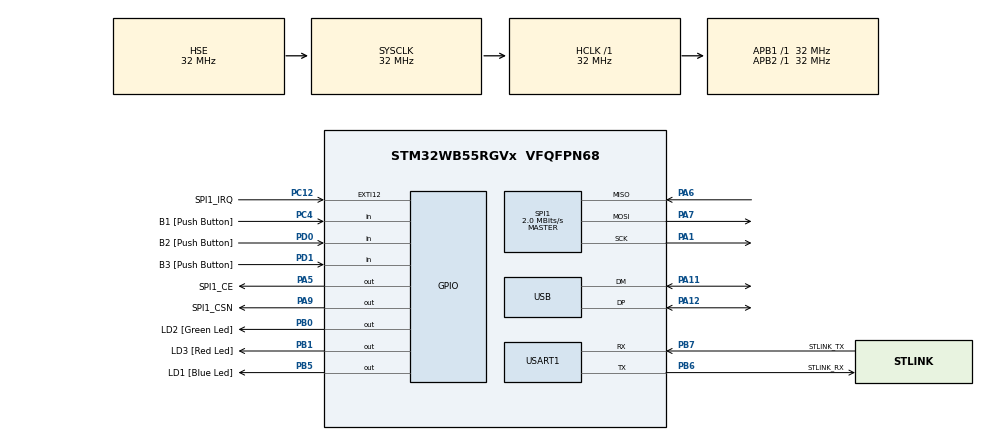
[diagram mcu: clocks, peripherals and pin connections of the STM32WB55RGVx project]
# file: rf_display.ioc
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Mcu.Family=STM32WB
PA6.Mode=Full_Duplex_Master
RCC.CortexFreq_Value=32000000
SPI1.VirtualType=VM_MASTER
RCC.SMPSCLockSelectionVirtualVirtual=RCC_SMPSCLKSOURCE_HSI
PC12.Signal=GPXTI12
USART1.WordLength=WORDLENGTH_7B
PA14.GPIO_Label=JTCK
PD0.GPIO_Label=B2 [Push Button]
PA11.Mode=Device
PB0.GPIO_Label=LD2 [Green Led]
PB6.GPIO_Label=STLINK_RX
RCC.SYSCLKSource=RCC_SYSCLKSOURCE_HSE
ProjectManager.StackSize=0x400
VP_FREERTOS_VS_CMSIS_V2.Mode=CMSIS_V2
PA12.Signal=USB_DP
SPI1.Direction=SPI_DIRECTION_2LINES
RCC.HCLKFreq_Value=32000000
RCC.APB2TimFreq_Value=32000000
PB6.Signal=USART1_TX
PB6.Mode=Asynchronous
SPI1.CalculateBaudRate=2.0 MBits/s
PD0.Signal=GPIO_Input
OSC_OUT.Mode=HSE-External-Oscillator
OSC_OUT.Signal=RCC_OSC_OUT
RCC.AHBFreq_Value=32000000
RCC.HSE_VALUE=32000000
PB3.Mode=Trace_Asynchronous_SW
PD1.GPIO_Label=B3 [Push Button]
PC14-OSC32_IN.Mode=LSE-External-Oscillator
PC4.GPIO_Label=B1 [Push Button]
PA14.Mode=Trace_Asynchronous_SW
PB1.GPIO_Label=LD3 [Red Led]
NVIC.TIM2_IRQn=true\:0\:0\:false\:false\:true\:false\:false\:true
SPI1.DataSize=SPI_DATASIZE_8BIT
PB7.Signal=USART1_RX
RCC.APB3Freq_Value=16000000
PB7.GPIO_Label=STLINK_TX
Mcu.Package=VFQFPN68
VP_SYS_VS_tim2.Mode=TIM2
PB1.Signal=GPIO_Output
PA6.Signal=SPI1_MISO
NVIC.TimeBase=TIM2_IRQn
NVIC.TimeBaseIP=TIM2
PB5.GPIO_Label=LD1 [Blue Led]
RCC.APB1TimFreq_Value=32000000
SPI1.BaudRatePrescaler=SPI_BAUDRATEPRESCALER_16
RCC.SMPSDivider=1
RCC.HSI48_VALUE=48000000
RCC.PLLSAI1N=24
PB3.GPIO_Label=JTDO
PB7.GPIO_PuPd=GPIO_PULLUP
PC15-OSC32_OUT.Mode=LSE-External-Oscillator
FREERTOS.Tasks01=defaultTask,24,128,StartDefaultTask,Default,NULL,Dynamic,NULL,NULL;ComunicationTas,8,128,startComunicationTask,Default,NULL,Dynamic,NULL,NULL
PA7.Mode=Full_Duplex_Master
PA9.GPIO_Label=SPI1_CSN
PC13.Signal=SYS_WKUP2
PB6.GPIO_PuPd=GPIO_PULLUP
PC4.Signal=GPIO_Input
PD1.Signal=GPIO_Input
PC14-OSC32_IN.Signal=RCC_OSC32_IN
USART1.VirtualMode-Asynchronous=VM_ASYNC
PA13.Signal=SYS_JTMS-SWDIO
ProjectManager.TargetToolchain=STM32CubeIDE
PA9.Signal=GPIO_Output
OSC_IN.Signal=RCC_OSC_IN
RCC.USBFreq_Value=48000000
PC15-OSC32_OUT.Signal=RCC_OSC32_OUT
PA1.Signal=SPI1_SCK
PA5.Signal=GPIO_Output
RCC.SMPSCLockSelectionVirtual=RCC_SMPSCLKSOURCE_HSI
board=P-NUCLEO-WB55-Nucleo
RCC.VCOOutputFreq_Value=128000000
RCC.APB2Freq_Value=32000000
PA1.Mode=Full_Duplex_Master
SPI1.Mode=SPI_MODE_MASTER
RCC.ADCFreq_Value=48000000
PA13.Mode=Trace_Asynchronous_SW
PC13.Mode=SYS_WakeUp1
Mcu.Name=STM32WB55RGVx
PA13.GPIO_Label=JTMS
PB3.Signal=SYS_JTDO-SWO
RCC.SYSCLKFreq_VALUE=32000000
PB5.Signal=GPIO_Output
PA12.Mode=Device
PA5.GPIO_Label=SPI1_CE
OSC_IN.Mode=HSE-External-Oscillator
PC12.GPIO_Label=SPI1_IRQ
PA11.Signal=USB_DM
PB7.Mode=Asynchronous
PA14.Signal=SYS_JTCK-SWCLK
ProjectManager.HeapSize=0x200
RCC.HSI_VALUE=16000000
NVIC.PriorityGroup=NVIC_PRIORITYGROUP_4
RCC.PLLN=32
RCC.APB1Freq_Value=32000000
PB0.Signal=GPIO_Output
PA7.Signal=SPI1_MOSI

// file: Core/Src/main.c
/* USER CODE BEGIN Header */
/**
  ******************************************************************************
  * @file           : main.c
  * @brief          : Main program body
  ******************************************************************************
  * @attention
  *
  * <h2><center>&copy; Copyright (c) 2021 STMicroelectronics.
  * All rights reserved.</center></h2>
  *
  * This software component is licensed by ST under BSD 3-Clause license,
  * the "License"; You may not use this file except in compliance with the
  * License. You may obtain a copy of the License at:
  *                        opensource.org/licenses/BSD-3-Clause
  *
  ******************************************************************************
  */
/* USER CODE END Header */
#include "main.h"
#include "cmsis_os.h"

/* USER CODE BEGIN Includes */
#include "stdio.h"
#include "nRF24_Defs.h"
#include "nRF24.h"
/* USER CODE END Includes */

SPI_HandleTypeDef hspi1;

UART_HandleTypeDef huart1;

PCD_HandleTypeDef hpcd_USB_FS;

/* Definitions for defaultTask */
osThreadId_t defaultTaskHandle;
const osThreadAttr_t defaultTask_attributes = {
  .name = "defaultTask",
  .priority = (osPriority_t) osPriorityNormal,
  .stack_size = 128 * 4
};
/* Definitions for ComunicationTas */
osThreadId_t ComunicationTasHandle;
const osThreadAttr_t ComunicationTas_attributes = {
  .name = "ComunicationTas",
  .priority = (osPriority_t) osPriorityLow,
  .stack_size = 128 * 4
};
/* USER CODE BEGIN PV */
volatile uint8_t nrf24_rx_flag, nrf24_tx_flag, nrf24_mr_flag;
uint8_t Nrf24_Message[NRF24_PAYLOAD_SIZE];
uint8_t Message[32];
uint8_t MessageLength;

extern Message_R rf_msg;

/* USER CODE END PV */

void SystemClock_Config(void);
static void MX_GPIO_Init(void);
static void MX_USART1_UART_Init(void);
static void MX_USB_PCD_Init(void);
static void MX_SPI1_Init(void);
void StartDefaultTask(void *argument);
void startComunicationTask(void *argument);

int main(void)
{

  /* MCU Configuration--------------------------------------------------------*/

  /* Reset of all peripherals, Initializes the Flash interface and the Systick. */
  HAL_Init();

  /* Configure the system clock */
  SystemClock_Config();

  /* Initialize all configured peripherals */
  MX_GPIO_Init();
  MX_USART1_UART_Init();
  MX_USB_PCD_Init();
  MX_SPI1_Init();
  /* USER CODE BEGIN 2 */
  nRF24_Init(&hspi1);
  nRF24_SetRXAddress(0, "TX");
  nRF24_SetTXAddress("RX");
  nRF24_RX_Mode();

  /* USER CODE END 2 */

  /* Init scheduler */
  osKernelInitialize();

  /* Create the thread(s) */
  /* creation of defaultTask */
  defaultTaskHandle = osThreadNew(StartDefaultTask, NULL, &defaultTask_attributes);

  /* creation of ComunicationTas */
  ComunicationTasHandle = osThreadNew(startComunicationTask, NULL, &ComunicationTas_attributes);

  /* Start scheduler */
  osKernelStart();

  /* We should never get here as control is now taken by the scheduler */
  /* Infinite loop */
  while (1)
  {

  }
}

void SystemClock_Config(void)
{
  RCC_OscInitTypeDef RCC_OscInitStruct = {0};
  RCC_ClkInitTypeDef RCC_ClkInitStruct = {0};
  RCC_PeriphCLKInitTypeDef PeriphClkInitStruct = {0};

  /** Macro to configure the PLL multiplication factor
  */
  __HAL_RCC_PLL_PLLM_CONFIG(RCC_PLLM_DIV1);
  /** Macro to configure the PLL clock source
  */
  __HAL_RCC_PLL_PLLSOURCE_CONFIG(RCC_PLLSOURCE_MSI);
  /** Configure LSE Drive Capability
  */
  HAL_PWR_EnableBkUpAccess();
  __HAL_RCC_LSEDRIVE_CONFIG(RCC_LSEDRIVE_LOW);
  /** Configure the main internal regulator output voltage
  */
  __HAL_PWR_VOLTAGESCALING_CONFIG(PWR_REGULATOR_VOLTAGE_SCALE1);
  /** Initializes the RCC Oscillators according to the specified parameters
  * in the RCC_OscInitTypeDef structure.
  */
  RCC_OscInitStruct.OscillatorType = RCC_OSCILLATORTYPE_HSI|RCC_OSCILLATORTYPE_HSE
                              |RCC_OSCILLATORTYPE_LSE|RCC_OSCILLATORTYPE_MSI;
  RCC_OscInitStruct.HSEState = RCC_HSE_ON;
  RCC_OscInitStruct.LSEState = RCC_LSE_ON;
  RCC_OscInitStruct.HSIState = RCC_HSI_ON;
  RCC_OscInitStruct.MSIState = RCC_MSI_ON;
  RCC_OscInitStruct.HSICalibrationValue = RCC_HSICALIBRATION_DEFAULT;
  RCC_OscInitStruct.MSICalibrationValue = RCC_MSICALIBRATION_DEFAULT;
  RCC_OscInitStruct.MSIClockRange = RCC_MSIRANGE_6;
  RCC_OscInitStruct.PLL.PLLState = RCC_PLL_NONE;
  if (HAL_RCC_OscConfig(&RCC_OscInitStruct) != HAL_OK)
  {
    Error_Handler();
  }
  /** Configure the SYSCLKSource, HCLK, PCLK1 and PCLK2 clocks dividers
  */
  RCC_ClkInitStruct.ClockType = RCC_CLOCKTYPE_HCLK4|RCC_CLOCKTYPE_HCLK2
                              |RCC_CLOCKTYPE_HCLK|RCC_CLOCKTYPE_SYSCLK
                              |RCC_CLOCKTYPE_PCLK1|RCC_CLOCKTYPE_PCLK2;
  RCC_ClkInitStruct.SYSCLKSource = RCC_SYSCLKSOURCE_HSE;
  RCC_ClkInitStruct.AHBCLKDivider = RCC_SYSCLK_DIV1;
  RCC_ClkInitStruct.APB1CLKDivider = RCC_HCLK_DIV1;
  RCC_ClkInitStruct.APB2CLKDivider = RCC_HCLK_DIV1;
  RCC_ClkInitStruct.AHBCLK2Divider = RCC_SYSCLK_DIV1;
  RCC_ClkInitStruct.AHBCLK4Divider = RCC_SYSCLK_DIV1;

  if (HAL_RCC_ClockConfig(&RCC_ClkInitStruct, FLASH_LATENCY_1) != HAL_OK)
  {
    Error_Handler();
  }
  /** Initializes the peripherals clocks
  */
  PeriphClkInitStruct.PeriphClockSelection = RCC_PERIPHCLK_SMPS|RCC_PERIPHCLK_USART1
                              |RCC_PERIPHCLK_USB;
  PeriphClkInitStruct.PLLSAI1.PLLN = 24;
  PeriphClkInitStruct.PLLSAI1.PLLP = RCC_PLLP_DIV2;
  PeriphClkInitStruct.PLLSAI1.PLLQ = RCC_PLLQ_DIV2;
  PeriphClkInitStruct.PLLSAI1.PLLR = RCC_PLLR_DIV2;
  PeriphClkInitStruct.PLLSAI1.PLLSAI1ClockOut = RCC_PLLSAI1_USBCLK;
  PeriphClkInitStruct.Usart1ClockSelection = RCC_USART1CLKSOURCE_PCLK2;
  PeriphClkInitStruct.UsbClockSelection = RCC_USBCLKSOURCE_PLLSAI1;
  PeriphClkInitStruct.SmpsClockSelection = RCC_SMPSCLKSOURCE_HSI;
  PeriphClkInitStruct.SmpsDivSelection = RCC_SMPSCLKDIV_RANGE0;
  if (HAL_RCCEx_PeriphCLKConfig(&PeriphClkInitStruct) != HAL_OK)
  {
    Error_Handler();
  }
  /** Enable MSI Auto calibration
  */
  HAL_RCCEx_EnableMSIPLLMode();
}

static void MX_SPI1_Init(void)
{

  /* SPI1 parameter configuration*/
  hspi1.Instance = SPI1;
  hspi1.Init.Mode = SPI_MODE_MASTER;
  hspi1.Init.Direction = SPI_DIRECTION_2LINES;
  hspi1.Init.DataSize = SPI_DATASIZE_8BIT;
  hspi1.Init.CLKPolarity = SPI_POLARITY_LOW;
  hspi1.Init.CLKPhase = SPI_PHASE_1EDGE;
  hspi1.Init.NSS = SPI_NSS_SOFT;
  hspi1.Init.BaudRatePrescaler = SPI_BAUDRATEPRESCALER_16;
  hspi1.Init.FirstBit = SPI_FIRSTBIT_MSB;
  hspi1.Init.TIMode = SPI_TIMODE_DISABLE;
  hspi1.Init.CRCCalculation = SPI_CRCCALCULATION_DISABLE;
  hspi1.Init.CRCPolynomial = 7;
  hspi1.Init.CRCLength = SPI_CRC_LENGTH_DATASIZE;
  hspi1.Init.NSSPMode = SPI_NSS_PULSE_ENABLE;
  if (HAL_SPI_Init(&hspi1) != HAL_OK)
  {
    Error_Handler();
  }

}

static void MX_USART1_UART_Init(void)
{

  huart1.Instance = USART1;
  huart1.Init.BaudRate = 115200;
  huart1.Init.WordLength = UART_WORDLENGTH_7B;
  huart1.Init.StopBits = UART_STOPBITS_1;
  huart1.Init.Parity = UART_PARITY_NONE;
  huart1.Init.Mode = UART_MODE_TX_RX;
  huart1.Init.HwFlowCtl = UART_HWCONTROL_NONE;
  huart1.Init.OverSampling = UART_OVERSAMPLING_16;
  huart1.Init.OneBitSampling = UART_ONE_BIT_SAMPLE_DISABLE;
  huart1.Init.ClockPrescaler = UART_PRESCALER_DIV1;
  huart1.AdvancedInit.AdvFeatureInit = UART_ADVFEATURE_NO_INIT;
  if (HAL_UART_Init(&huart1) != HAL_OK)
  {
    Error_Handler();
  }
  if (HAL_UARTEx_SetTxFifoThreshold(&huart1, UART_TXFIFO_THRESHOLD_1_8) != HAL_OK)
  {
    Error_Handler();
  }
  if (HAL_UARTEx_SetRxFifoThreshold(&huart1, UART_RXFIFO_THRESHOLD_1_8) != HAL_OK)
  {
    Error_Handler();
  }
  if (HAL_UARTEx_DisableFifoMode(&huart1) != HAL_OK)
  {
    Error_Handler();
  }

}

static void MX_USB_PCD_Init(void)
{

  hpcd_USB_FS.Instance = USB;
  hpcd_USB_FS.Init.dev_endpoints = 8;
  hpcd_USB_FS.Init.speed = PCD_SPEED_FULL;
  hpcd_USB_FS.Init.phy_itface = PCD_PHY_EMBEDDED;
  hpcd_USB_FS.Init.Sof_enable = DISABLE;
  hpcd_USB_FS.Init.low_power_enable = DISABLE;
  hpcd_USB_FS.Init.lpm_enable = DISABLE;
  hpcd_USB_FS.Init.battery_charging_enable = DISABLE;
  if (HAL_PCD_Init(&hpcd_USB_FS) != HAL_OK)
  {
    Error_Handler();
  }

}

static void MX_GPIO_Init(void)
{
  GPIO_InitTypeDef GPIO_InitStruct = {0};

  /* GPIO Ports Clock Enable */
  __HAL_RCC_GPIOC_CLK_ENABLE();
  __HAL_RCC_GPIOA_CLK_ENABLE();
  __HAL_RCC_GPIOB_CLK_ENABLE();
  __HAL_RCC_GPIOD_CLK_ENABLE();

  /*Configure GPIO pin Output Level */
  HAL_GPIO_WritePin(GPIOA, SPI1_CE_Pin|SPI1_CSN_Pin, GPIO_PIN_RESET);

  /*Configure GPIO pin Output Level */
  HAL_GPIO_WritePin(GPIOB, LD2_Pin|LD3_Pin|LD1_Pin, GPIO_PIN_RESET);

  /*Configure GPIO pins : SPI1_CE_Pin SPI1_CSN_Pin */
  GPIO_InitStruct.Pin = SPI1_CE_Pin|SPI1_CSN_Pin;
  GPIO_InitStruct.Mode = GPIO_MODE_OUTPUT_PP;
  GPIO_InitStruct.Pull = GPIO_NOPULL;
  GPIO_InitStruct.Speed = GPIO_SPEED_FREQ_LOW;
  HAL_GPIO_Init(GPIOA, &GPIO_InitStruct);

  /*Configure GPIO pin : B1_Pin */
  GPIO_InitStruct.Pin = B1_Pin;
  GPIO_InitStruct.Mode = GPIO_MODE_INPUT;
  GPIO_InitStruct.Pull = GPIO_NOPULL;
  HAL_GPIO_Init(B1_GPIO_Port, &GPIO_InitStruct);

  /*Configure GPIO pins : LD2_Pin LD3_Pin LD1_Pin */
  GPIO_InitStruct.Pin = LD2_Pin|LD3_Pin|LD1_Pin;
  GPIO_InitStruct.Mode = GPIO_MODE_OUTPUT_PP;
  GPIO_InitStruct.Pull = GPIO_NOPULL;
  GPIO_InitStruct.Speed = GPIO_SPEED_FREQ_LOW;
  HAL_GPIO_Init(GPIOB, &GPIO_InitStruct);

  /*Configure GPIO pin : SPI1_IRQ_Pin */
  GPIO_InitStruct.Pin = SPI1_IRQ_Pin;
  GPIO_InitStruct.Mode = GPIO_MODE_IT_RISING;
  GPIO_InitStruct.Pull = GPIO_NOPULL;
  HAL_GPIO_Init(SPI1_IRQ_GPIO_Port, &GPIO_InitStruct);

  /*Configure GPIO pins : B2_Pin B3_Pin */
  GPIO_InitStruct.Pin = B2_Pin|B3_Pin;
  GPIO_InitStruct.Mode = GPIO_MODE_INPUT;
  GPIO_InitStruct.Pull = GPIO_NOPULL;
  HAL_GPIO_Init(GPIOD, &GPIO_InitStruct);

}

void StartDefaultTask(void *argument)
{
  /* USER CODE BEGIN 5 */
  /* Infinite loop */
  for(;;)
  {
	  HAL_GPIO_TogglePin(LD3_GPIO_Port, LD3_Pin);
    osDelay(1000);
  }
  /* USER CODE END 5 */
}

void startComunicationTask(void *argument)
{
  /* USER CODE BEGIN startComunicationTask */
  /* Infinite loop */
  for(;;)
  {
	  if(nRF24_RXAvailible())
	  {
		  nRF24_get_data_by_radio(rf_msg);
	  }
    osDelay(1);
  }
  /* USER CODE END startComunicationTask */
}

 /**
  * @brief  Period elapsed callback in non blocking mode
  * @note   This function is called  when TIM2 interrupt took place, inside
  * HAL_TIM_IRQHandler(). It makes a direct call to HAL_IncTick() to increment
  * a global variable "uwTick" used as application time base.
  * @param  htim : TIM handle
  * @retval None
  */
void HAL_TIM_PeriodElapsedCallback(TIM_HandleTypeDef *htim)
{
  if (htim->Instance == TIM2) {
    HAL_IncTick();
  }
}

void Error_Handler(void)
{
  __disable_irq();
  while (1)
  {
  }
}

/************************ (C) COPYRIGHT STMicroelectronics *****END OF FILE****/
